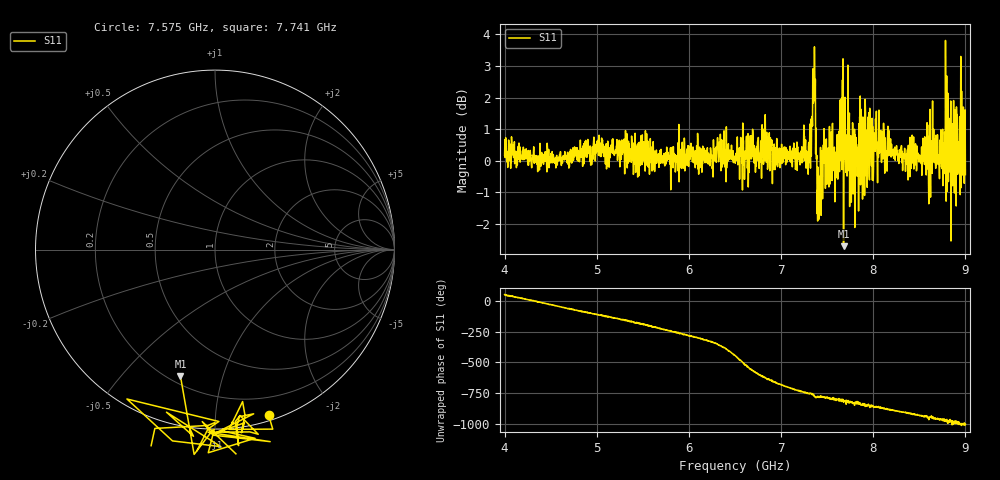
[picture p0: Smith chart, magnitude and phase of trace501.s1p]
! Created with skrf 1.8.0 (http://scikit-rf.org).
# Hz S RI R 50.0
!freq ReS11 ImS11
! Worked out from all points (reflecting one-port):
!   1601 points, 4 GHz to 9 GHz, reference 50 ohm
!   lowest |S11| = -2.7 dB at 7.678 GHz (marker M1), VSWR 6.46, Z = 12.1 - j36.8 ohm
!   phase of S11 starts at 51 deg and turns -1055 deg over the sweep
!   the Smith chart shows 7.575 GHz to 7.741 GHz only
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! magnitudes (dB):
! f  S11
! 4 GHz  0.2
! 4.625 GHz  0.0
! 5.25 GHz  -0.2
! 5.875 GHz  0.1
! 6.5 GHz  0.1
! 6.819 GHz  0.3
! 7.125 GHz  0.4
! 7.294 GHz  -0.4
! 7.316 GHz  0.4
! 7.347 GHz  2.2
! 7.369 GHz  1.9
! 7.4 GHz  -0.2
! 7.412 GHz  -1.0
! 7.466 GHz  1.0
! 7.591 GHz  0.3
! 7.65 GHz  0.6
! 7.678 GHz  -2.7
! 7.75 GHz  0.3
! 7.784 GHz  -0.8
! 7.891 GHz  -0.5
! 7.909 GHz  1.4
! 8.038 GHz  0.5
! 8.375 GHz  -0.3
! 8.731 GHz  0.4
! 8.809 GHz  2.1
! 8.869 GHz  -0.1
! 8.956 GHz  0.6
! 9 GHz  -0.4
